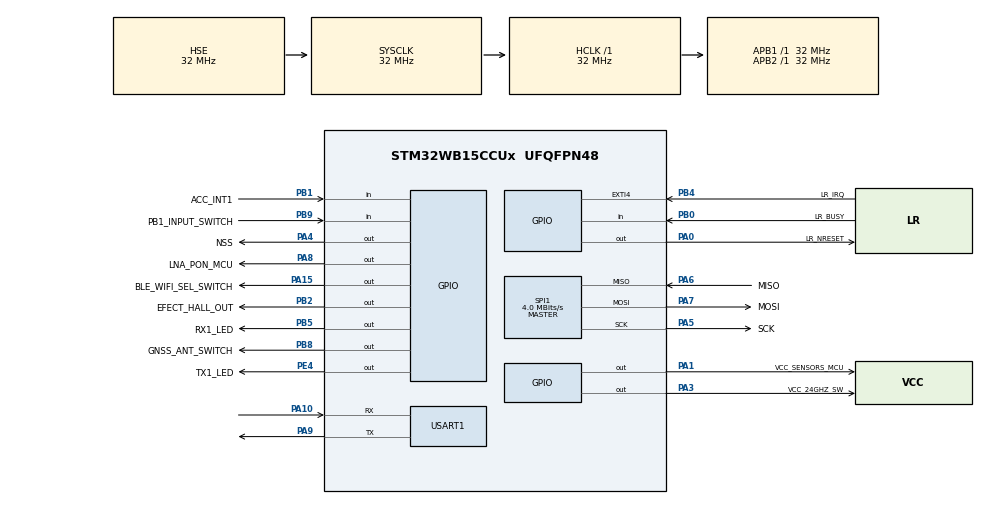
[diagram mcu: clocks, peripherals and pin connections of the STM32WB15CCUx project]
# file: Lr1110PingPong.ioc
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Dma.Request0=USART1_TX
Dma.Request1=USART1_RX
Dma.USART1_RX.1.Direction=DMA_PERIPH_TO_MEMORY
Dma.USART1_RX.1.EventEnable=DISABLE
Dma.USART1_RX.1.Instance=DMA1_Channel2
Dma.USART1_RX.1.MemDataAlignment=DMA_MDATAALIGN_BYTE
Dma.USART1_RX.1.MemInc=DMA_MINC_ENABLE
Dma.USART1_RX.1.Mode=DMA_NORMAL
Dma.USART1_RX.1.PeriphDataAlignment=DMA_PDATAALIGN_BYTE
Dma.USART1_RX.1.PeriphInc=DMA_PINC_DISABLE
Dma.USART1_RX.1.Polarity=HAL_DMAMUX_REQ_GEN_RISING
Dma.USART1_RX.1.Priority=DMA_PRIORITY_LOW
Dma.USART1_RX.1.RequestNumber=1
Dma.USART1_RX.1.SignalID=NONE
Dma.USART1_RX.1.SyncEnable=DISABLE
Dma.USART1_RX.1.SyncPolarity=HAL_DMAMUX_SYNC_NO_EVENT
Dma.USART1_RX.1.SyncRequestNumber=1
Dma.USART1_RX.1.SyncSignalID=NONE
Dma.USART1_TX.0.Direction=DMA_MEMORY_TO_PERIPH
Dma.USART1_TX.0.EventEnable=DISABLE
Dma.USART1_TX.0.Instance=DMA1_Channel1
Dma.USART1_TX.0.MemDataAlignment=DMA_MDATAALIGN_BYTE
Dma.USART1_TX.0.MemInc=DMA_MINC_ENABLE
Dma.USART1_TX.0.Mode=DMA_NORMAL
Dma.USART1_TX.0.PeriphDataAlignment=DMA_PDATAALIGN_BYTE
Dma.USART1_TX.0.PeriphInc=DMA_PINC_DISABLE
Dma.USART1_TX.0.Polarity=HAL_DMAMUX_REQ_GEN_RISING
Dma.USART1_TX.0.Priority=DMA_PRIORITY_HIGH
Dma.USART1_TX.0.RequestNumber=1
Dma.USART1_TX.0.SignalID=NONE
Dma.USART1_TX.0.SyncEnable=DISABLE
Dma.USART1_TX.0.SyncPolarity=HAL_DMAMUX_SYNC_NO_EVENT
Dma.USART1_TX.0.SyncRequestNumber=1
Dma.USART1_TX.0.SyncSignalID=NONE
Mcu.Family=STM32WB
Mcu.Name=STM32WB15CCUx
Mcu.Package=UFQFPN48
NVIC.DMA1_Channel1_IRQn=true\:0\:0\:false\:false\:true\:false\:true
NVIC.DMA1_Channel2_IRQn=true\:0\:0\:false\:false\:true\:false\:true
NVIC.EXTI4_IRQn=true\:0\:0\:false\:false\:true\:true\:true
NVIC.HSEM_IRQn=true\:0\:0\:false\:false\:true\:false\:true
NVIC.IPCC_C1_RX_IRQn=true\:0\:0\:false\:false\:true\:true\:true
NVIC.IPCC_C1_TX_IRQn=true\:0\:0\:false\:false\:true\:true\:true
NVIC.PriorityGroup=NVIC_PRIORITYGROUP_4
NVIC.RCC_IRQn=true\:0\:0\:false\:false\:true\:true\:false
NVIC.RNG_IRQn=true\:0\:0\:false\:false\:true\:true\:true
NVIC.RTC_Alarm_IRQn=true\:0\:0\:false\:false\:true\:true\:true
NVIC.RTC_WKUP_IRQn=true\:0\:0\:false\:false\:true\:true\:true
NVIC.USART1_IRQn=true\:0\:0\:false\:false\:true\:true\:true
OSC_IN.Mode=HSE-External-Oscillator
OSC_IN.Signal=RCC_OSC_IN
OSC_OUT.Mode=HSE-External-Oscillator
OSC_OUT.Signal=RCC_OSC_OUT
PA0.GPIO_Label=LR_NRESET
PA0.Signal=GPIO_Output
PA1.GPIO_Label=VCC_SENSORS_MCU
PA1.Signal=GPIO_Output
PA10.Mode=Asynchronous
PA10.Signal=USART1_RX
PA13.Signal=SYS_JTMS-SWDIO
PA14.Signal=SYS_JTCK-SWCLK
PA15.GPIO_Label=BLE_WIFI_SEL_SWITCH
PA15.Signal=GPIO_Output
PA2.Mode=Clock-out-LSCO
PA2.Signal=RCC_LSCO
PA3.GPIO_Label=VCC_24GHZ_SW
PA3.Signal=GPIO_Output
PA4.GPIO_Label=NSS
PA4.Signal=GPIO_Output
PA5.GPIO_Label=SCK
PA5.Mode=Full_Duplex_Master
PA5.Signal=SPI1_SCK
PA6.GPIO_Label=MISO
PA6.Mode=Full_Duplex_Master
PA6.Signal=SPI1_MISO
PA7.GPIO_Label=MOSI
PA7.Mode=Full_Duplex_Master
PA7.Signal=SPI1_MOSI
PA8.GPIO_Label=LNA_PON_MCU
PA8.Signal=GPIO_Output
PA9.Mode=Asynchronous
PA9.Signal=USART1_TX
PB0.GPIO_Label=LR_BUSY
PB0.Signal=GPIO_Input
PB1.GPIO_Label=ACC_INT1
PB1.Signal=GPIO_Input
PB2.GPIO_Label=EFECT_HALL_OUT
PB2.Signal=GPIO_Output
PB3.Signal=SYS_JTDO-SWO
PB4.GPIO_Label=LR_IRQ
PB4.Signal=GPXTI4
PB5.GPIO_Label=RX1_LED
PB5.Signal=GPIO_Output
PB8.GPIO_Label=GNSS_ANT_SWITCH
PB8.Signal=GPIO_Output
PB9.GPIO_Label=PB1_INPUT_SWITCH
PB9.Signal=GPIO_Input
PC14-OSC32_IN.Mode=LSE-External-Oscillator
PC14-OSC32_IN.Signal=RCC_OSC32_IN
PC15-OSC32_OUT.Mode=LSE-External-Oscillator
PC15-OSC32_OUT.Signal=RCC_OSC32_OUT
PE4.GPIO_Label=TX1_LED
PE4.Signal=GPIO_Output
ProjectManager.HeapSize=0x200
ProjectManager.StackSize=0x400
ProjectManager.TargetToolchain=STM32CubeIDE
RCC.AHBFreq_Value=32000000
RCC.APB1Freq_Value=32000000
RCC.APB1TimFreq_Value=32000000
RCC.APB2Freq_Value=32000000
RCC.APB2TimFreq_Value=32000000
RCC.APB3Freq_Value=16000000
RCC.CortexFreq_Value=32000000
RCC.HCLKFreq_Value=32000000
RCC.HSE_VALUE=32000000
RCC.HSI_VALUE=16000000
RCC.LSCOSource1=RCC_LSCOSOURCE_LSE
RCC.MSIClockRange=RCC_MSIRANGE_10
RCC.PLLN=6
RCC.PLLR=RCC_PLLR_DIV3
RCC.PLLSourceVirtual=RCC_PLLSOURCE_HSI
RCC.RNGCLockSelection=RCC_RNGCLKSOURCE_LSE
RCC.RTCClockSelection=RCC_RTCCLKSOURCE_LSE
RCC.SYSCLKFreq_VALUE=32000000
RCC.SYSCLKSource=RCC_SYSCLKSOURCE_HSE
RCC.VCOOutputFreq_Value=96000000
RF1.Mode=RF1_Activate
RF1.Signal=RF_RF1
RTC.Alarm-Alarm\ A=RTC_ALARM_A
RTC.Format=RTC_FORMAT_BIN
RTC.HourFormat=RTC_HOURFORMAT_24
SPI1.BaudRatePrescaler=SPI_BAUDRATEPRESCALER_8
SPI1.CalculateBaudRate=4.0 MBits/s
SPI1.Direction=SPI_DIRECTION_2LINES
SPI1.Mode=SPI_MODE_MASTER
SPI1.VirtualType=VM_MASTER
STM32_WPAN.BLE_DBG_APP_EN=1
STM32_WPAN.BLE_DBG_P2P_STM_EN=1
STM32_WPAN.CFG_DEBUG_APP_TRACE=1
STM32_WPAN.CFG_DEBUG_BLE_TRACE=1
STM32_WPAN.CFG_DEBUG_TRACE_FULL=1
STM32_WPAN.CFG_DEBUG_TRACE_UART=hw_uart1
STM32_WPAN.CFG_HW_USART1_ENABLED=1
USART1.VirtualMode-Asynchronous=VM_ASYNC
VP_HSEM_VS_HSEM.Mode=HSEM_Activate
VP_IPCC_VS_IPCC.Mode=IPCC_Activate
VP_RNG_VS_RNG.Mode=RNG_Activate
VP_RTC_VS_RTC_Activate.Mode=RTC_Enabled
VP_RTC_VS_RTC_Alarm_A_Intern.Mode=Alarm A
VP_RTC_VS_RTC_Calendar.Mode=RTC_Calendar
VP_RTC_VS_RTC_WakeUp_intern.Mode=WakeUp
VP_SEQUENCER_VS_SEQUENCER.Mode=SEQUENCER_Enabled
VP_STM32_WPAN_VS_BLE_HOST.Mode=STM32_WPAN_Enabled
VP_TINY_LPM_VS_TINY_LPM.Mode=TINY_LPM_Enabled
board=custom

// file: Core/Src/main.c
/* USER CODE BEGIN Header */
/**
  ******************************************************************************
  * @file           : main.c
  * @brief          : Main program body
  ******************************************************************************
  * @attention
  *
  * Copyright (c) 2022 STMicroelectronics.
  * All rights reserved.
  *
  * This software is licensed under terms that can be found in the LICENSE file
  * in the root directory of this software component.
  * If no LICENSE file comes with this software, it is provided AS-IS.
  *
  ******************************************************************************
  */
/* USER CODE END Header */
#include "main.h"
#include "dma.h"
#include "ipcc.h"
#include "rf.h"
#include "rng.h"
#include "rtc.h"
#include "spi.h"
#include "usart.h"
#include "gpio.h"

void SystemClock_Config(void);
void PeriphCommonClock_Config(void);
/* USER CODE BEGIN PFP */

int __io_putchar(int ch)
{
	if(ch == NULL)
		return 0;

	HAL_UART_Transmit(&huart1, &ch, 1, 100);
}

int __io_getchar(void)
{
	uint8_t ch = 0;
	HAL_UART_Receive(&huart1, &ch, 1, 100);
	return ch;
}

void PrintMsg(uint8_t * u8Msg)
{
	if(u8Msg == NULL)
		return;

	HAL_UART_Transmit(&huart1, u8Msg, (uint16_t) strlen((char *)u8Msg), 1000);
}

#if 1
uint8_t hal_spi_in_out( const uint8_t in_data )
{

#if 1

	uint8_t data = 0;

//    HAL_SPI_Transmit( &hspi1, (uint8_t *) &data, 1, 1000);
//    HAL_SPI_Receive( &hspi1, (uint8_t *) &data, 1, 1000);

    HAL_SPI_TransmitReceive(&hspi1, &in_data, &data, 1, 1000);
//    HAL_SPI_Transmit( &hspi1, (uint8_t *) &aa[0], 1, 1000);
//    HAL_SPI_Receive( &hspi1, (uint8_t *) &data, 1, 1000);

    return data;
#else

//        while( LL_SPI_IsActiveFlag_TXE( &huart1 ) == 0 )
//        {
//        };
//        LL_SPI_TransmitData8( &huart1, ( uint8_t )( out_data & 0xFF ) );
//
//        while( LL_SPI_IsActiveFlag_RXNE( &huart1 ) == 0 )
//        {
//        };
//        return LL_SPI_ReceiveData8( &huart1 );

#endif
}

void my_lr1110_hal_reset( void )
{

	HAL_GPIO_WritePin(LR_NRESET_GPIO_Port, LR_NRESET_Pin, 0);
	HAL_Delay(100);
	HAL_GPIO_WritePin(LR_NRESET_GPIO_Port, LR_NRESET_Pin, 1);
	HAL_Delay(500);

//    hal_gpio_set_value( lr1110_context->reset, 0 );
//    hal_mcu_wait_us( 5000 );
//    hal_gpio_set_value( lr1110_context->reset, 1 );
//    hal_mcu_wait_us( 5000 );
//
//    // Wait 200ms until internal lr1110 fw is ready
//    hal_mcu_wait_us( 200000 );
//    radio_mode = RADIO_AWAKE;
//
//    return LR1110_HAL_STATUS_OK;
}

void my_lr1110_hal_wait_on_busy( void )
{

    while( HAL_GPIO_ReadPin(LR_BUSY_GPIO_Port, LR_BUSY_Pin) == 1 )
    {
    };
}

void my_lr1110_hal_check_device_ready(void )
{

	        HAL_GPIO_WritePin(NSS_GPIO_Port, NSS_Pin, 0);
	        HAL_GPIO_WritePin(NSS_GPIO_Port, NSS_Pin, 1);
        my_lr1110_hal_wait_on_busy( );
//    }
//    else
//    {
//        // Busy is HIGH in sleep mode, wake-up the device with a small glitch on NSS
//        hal_gpio_set_value( lr1110_context->nss, 0 );
//        hal_gpio_set_value( lr1110_context->nss, 1 );
//        lr1110_hal_wait_on_busy( lr1110_context->busy );
//        radio_mode = RADIO_AWAKE;
//    }
}

void my_lr1110_hal_wakeup( void )
{
    my_lr1110_hal_check_device_ready(  );
}

void my_lr1110_hal_write( const uint8_t* command, const uint16_t command_length,
                                      const uint8_t* data, const uint16_t data_length )
{
	my_lr1110_hal_check_device_ready();

	HAL_GPIO_WritePin(NSS_GPIO_Port, NSS_Pin, 0);

    for( uint16_t i = 0; i < command_length; i++ )
    {
        hal_spi_in_out( command[i] );
    }

    for( uint16_t i = 0; i < data_length; i++ )
	{
		hal_spi_in_out( data[i] );
	}

    HAL_GPIO_WritePin(NSS_GPIO_Port, NSS_Pin, 1);

    my_lr1110_hal_wait_on_busy();

//	if( my_lr1110_hal_wakeup( context ) == LR1110_HAL_STATUS_OK )
//	{
//		hal_gpio_set_value( ( ( lr1110_t* ) context )->nss.pin, 0 );
//		for( uint16_t i = 0; i < command_length; i++ )
//		{
//			hal_spi_in_out( ( ( lr1110_t* ) context )->spi_id, command[i] );
//		}
//		for( uint16_t i = 0; i < data_length; i++ )
//		{
//			hal_spi_in_out( ( ( lr1110_t* ) context )->spi_id, data[i] );
//		}
//		hal_gpio_set_value( ( ( lr1110_t* ) context )->nss.pin, 1 );
//
//		return lr1110_hal_wait_on_busy( context, 5000 );
//	}

#if 0
#if defined( USE_LR1110_CRC_OVER_SPI )
    // Compute the CRC over command array first and over data array then
    uint8_t cmd_crc = lr1110_hal_compute_crc( 0xFF, command, command_length );
    cmd_crc         = lr1110_hal_compute_crc( cmd_crc, data, data_length );
#endif

    my_lr1110_hal_check_device_ready( );

    // Put NSS low to start spi transaction
//    hal_gpio_set_value( lr1110_context->nss, 0 );
    HAL_GPIO_WritePin(NSS_GPIO_Port, NSS_Pin, 0);

    for( uint16_t i = 0; i < command_length; i++ )
    {
        hal_spi_in_out( command[i] );
    }
    for( uint16_t i = 0; i < data_length; i++ )
    {
        hal_spi_in_out( data[i] );
    }

#if defined( USE_LR1110_CRC_OVER_SPI )
    // Send the CRC byte at the end of the transaction
    hal_spi_in_out( lr1110_context->spi_id, cmd_crc );
#endif

    // Put NSS high as the spi transaction is finished
//    hal_gpio_set_value( lr1110_context->nss, 1 );
    HAL_GPIO_WritePin(NSS_GPIO_Port, NSS_Pin, 1);

    // LR1110_SYSTEM_SET_SLEEP_OC=0x011B opcode. In sleep mode the radio busy line is held at 1 => do not test it
    if( ( command[0] == 0x01 ) && ( command[1] == 0x1B ) )
    {
//        radio_mode = RADIO_SLEEP;

        // add a incompressible delay to prevent trying to wake the radio before it is full asleep
        HAL_Delay(500); //( 500 );
    }
#endif
}

void my_lr1110_hal_read( const uint8_t* command, const uint16_t command_length,
                                     uint8_t* data, const uint16_t data_length )
{
    my_lr1110_hal_check_device_ready(  );

    // Put NSS low to start spi transaction
    //    hal_gpio_set_value( lr1110_context->nss, 0 );
    HAL_GPIO_WritePin(NSS_GPIO_Port, NSS_Pin, 0);

    HAL_Delay(1);

    for( uint16_t i = 0; i < command_length; i++ )
    {
        hal_spi_in_out( command[i] );
    }

//    hal_gpio_set_value( lr1110_context->nss, 1 );
    HAL_GPIO_WritePin(NSS_GPIO_Port, NSS_Pin, 1);

    if( data_length > 0 )
    {
    	my_lr1110_hal_wait_on_busy(  );
    	HAL_Delay(10);
//        my_lr1110_hal_check_device_ready(  );
//        hal_gpio_set_value( lr1110_context->nss, 0 );
        HAL_GPIO_WritePin(NSS_GPIO_Port, NSS_Pin, 0);

        HAL_Delay(1);

        hal_spi_in_out( 0x00 );

        for( uint16_t i = 0; i < data_length; i++ )
        {
            data[i] = hal_spi_in_out( 0 );
        }

        // Put NSS high as the spi transaction is finished
//        hal_gpio_set_value( lr1110_context->nss, 1 );
        HAL_GPIO_WritePin(NSS_GPIO_Port, NSS_Pin, 1);
    }

    my_lr1110_hal_wait_on_busy();

}

void GetLr1110Version(char * version)
{
//	uint8_t cBuffer[2] = {0, };
//	uint8_t rbuffer[10] = { 0 };
//
//	cBuffer[0] = 0x01;
//	cBuffer[1] = 0x01;
//
//	my_my_lr1110_hal_read(cBuffer, 2, rbuffer, 4);
//
//	memcpy(version, rbuffer, 0x04);

    uint8_t         cbuffer[2];
    uint8_t         rbuffer[4] = { 0x00 };

    cbuffer[0] = ( uint8_t )( 257 >> 8 );
    cbuffer[1] = ( uint8_t )( 257 >> 0 );

    my_my_lr1110_hal_read( cbuffer, 2, rbuffer, 4 );

    memcpy(version, rbuffer, 0x04);

}

void my1_lr1110_hal_reset( void )
{
	PrintMsg("LR1110 --->\r\n");

    HAL_GPIO_WritePin(LR_NRESET_GPIO_Port, LR_NRESET_Pin, 0);
    HAL_Delay( 500 );
    HAL_GPIO_WritePin(LR_NRESET_GPIO_Port, LR_NRESET_Pin, 1);

//    HAL_GPIO_WritePin(NSS_GPIO_Port, NSS_Pin, 0);
    HAL_GPIO_WritePin(NSS_GPIO_Port, NSS_Pin, 1);

//		HAL_GPIO_WritePin(GPIOA, GPIO_PIN_0, GPIO_PIN_RESET);
//    HAL_Delay( 100 );
////    hal_gpio_set_value( ( ( lr1110_t* ) context )->reset.pin, 1 );
//		HAL_GPIO_WritePin(GPIOA, GPIO_PIN_0, GPIO_PIN_SET);

//	HAL_UART_Transmit(&huart1,"LR1110 Busy Pin Check\n",strlen("LR1110 Busy Pin Check\n"),100);

	while( HAL_GPIO_ReadPin(LR_BUSY_GPIO_Port, LR_BUSY_Pin) == 1 )
	{
		PrintMsg("LR1110 Busy Pin High\r\n");
	}
	PrintMsg(" OK\r\n");

//    return LR1110_HAL_STATUS_OK;
    while( HAL_GPIO_ReadPin(LR_BUSY_GPIO_Port, LR_BUSY_Pin) == 1 );
    PrintMsg("LR1110 RESET OK\r\n");
//		return LR1110_HAL_STATUS_OK;

//		while(hal_gpio_get_value(lr1110.event.pin) == 0)
//		{
//			hal_uart_tx(HAL_PRINTF_UART_ID,"LR1110 Event Pin Low\n",strlen("LR1110 Event Pin Low\n"));
//		}

//		hal_uart_tx(HAL_PRINTF_UART_ID,"LR1110 Event Pin High\n",strlen("LR1110 Event Pin High\n"));
//	HAL_DBG_TRACE_PRINTF("\r\n Initiate Wakeup sequence: ");
    HAL_Delay(1000);
//    if( my_lr1110_hal_wakeup(&lr1110) == LR1110_HAL_STATUS_OK )
//    {
//        HAL_DBG_TRACE_PRINTF("Pass");
//    }
//    else
//    {
//        HAL_DBG_TRACE_PRINTF("Fail");
//    }

//    HAL_DBG_TRACE_PRINTF("\r\n");
//    while(1);
//    while(1);

}

#endif

void spdt_2g4_on( void )
{
	HAL_GPIO_WritePin(VCC_24GHZ_SW_GPIO_Port, VCC_24GHZ_SW_Pin, 1);
}

void spdt_2g4_off( void )
{
	HAL_GPIO_WritePin(VCC_24GHZ_SW_GPIO_Port, VCC_24GHZ_SW_Pin, 0);
}

void set_wifi_antenna( void )
{
    /* SWITCH_WIFI_BLE_Pin = 1 ==> Wi-Fi */
//    hal_gpio_set_value( SWITCH_WIFI_BLE, 1 );
	HAL_GPIO_WritePin(BLE_WIFI_SEL_SWITCH_GPIO_Port, BLE_WIFI_SEL_SWITCH_Pin, 1);

}

void set_ble_antenna( void )
{
    /* SWITCH_WIFI_BLE_Pin = 0 ==> BLE */
//    hal_gpio_set_value( SWITCH_WIFI_BLE, 0 );
    HAL_GPIO_WritePin(BLE_WIFI_SEL_SWITCH_GPIO_Port, BLE_WIFI_SEL_SWITCH_Pin, 0);
}

void my_lr1110_get_version( char * hw, char * type, uint16_t * fw )
{
    uint8_t         cbuffer[2];
    uint8_t         rbuffer[4] = { 0x00 };

    cbuffer[0] = ( uint8_t )( 1 );
    cbuffer[1] = ( uint8_t )( 1 );

    my_lr1110_hal_read( cbuffer, 2, rbuffer, 4 );

	* hw   = rbuffer[0];
	* type = rbuffer[1];
	* fw    = ( ( uint16_t ) rbuffer[2] << 8 ) + ( uint16_t ) rbuffer[3];

}

void my_lr1110_reset(void)
{
	printf("LR1110 -- Reset\r\n");
	HAL_GPIO_WritePin(LR_NRESET_GPIO_Port, LR_NRESET_Pin, 0);
	HAL_Delay( 1 );
	HAL_GPIO_WritePin(LR_NRESET_GPIO_Port, LR_NRESET_Pin, 1);
}

extern int lora_ping_pong( void );
extern int lora_wan( void );

/* USER CODE END PFP */

int main(void)
{

  /* MCU Configuration--------------------------------------------------------*/

  /* Reset of all peripherals, Initializes the Flash interface and the Systick. */
  HAL_Init();
  /* Config code for STM32_WPAN (HSE Tuning must be done before system clock configuration) */
  MX_APPE_Config();

  /* Configure the system clock */
  SystemClock_Config();

/* Configure the peripherals common clocks */
  PeriphCommonClock_Config();

  /* IPCC initialisation */
   MX_IPCC_Init();

  /* Initialize all configured peripherals */
  MX_GPIO_Init();
  MX_RF_Init();
  MX_SPI1_Init();
  MX_USART1_UART_Init();
  MX_RTC_Init();
  MX_RNG_Init();
  MX_DMA_Init();
  /* USER CODE BEGIN 2 */

  printf("\r\n\r\n\r\n");
  printf("===================================================\r\n");
  printf("||       Lora Asset Tracker v%d.%d.%d                ||\r\n",
		  FW_VERSION_MAJOR, FW_VERSION_MINOR, FW_VERSION_PATCH);
  printf("===================================================\r\n\r\n");

  my_lr1110_reset();
  HAL_Delay(500);
  my_lr1110_reset();

  uint8_t hw = 0, type = 0;
  uint16_t fw = 0;
  my_lr1110_get_version( &hw, &type, &fw );
  printf( "LR1110 : hw:%#02X / type:%#02X / fw:%#04X\n\r", hw, type, fw );

  /* Uncomment for Lora Ping Ping */
//  lora_ping_pong();

  /* Uncomment for Lorawan */
  //lora_wan();

  /* USER CODE END 2 */

  /* Init code for STM32_WPAN */
  MX_APPE_Init();
  /* Infinite loop */
  while (1)
  {
    MX_APPE_Process();

  }
}

void SystemClock_Config(void)
{
  RCC_OscInitTypeDef RCC_OscInitStruct = {0};
  RCC_ClkInitTypeDef RCC_ClkInitStruct = {0};

  /** Configure LSE Drive Capability
  */
  HAL_PWR_EnableBkUpAccess();
  __HAL_RCC_LSEDRIVE_CONFIG(RCC_LSEDRIVE_LOW);
  /** Initializes the RCC Oscillators according to the specified parameters
  * in the RCC_OscInitTypeDef structure.
  */
  RCC_OscInitStruct.OscillatorType = RCC_OSCILLATORTYPE_HSI|RCC_OSCILLATORTYPE_HSE
                              |RCC_OSCILLATORTYPE_LSE;
  RCC_OscInitStruct.HSEState = RCC_HSE_ON;
  RCC_OscInitStruct.LSEState = RCC_LSE_ON;
  RCC_OscInitStruct.HSIState = RCC_HSI_ON;
  RCC_OscInitStruct.HSICalibrationValue = RCC_HSICALIBRATION_DEFAULT;
  RCC_OscInitStruct.PLL.PLLState = RCC_PLL_NONE;
  if (HAL_RCC_OscConfig(&RCC_OscInitStruct) != HAL_OK)
  {
    Error_Handler();
  }
  /** Configure the SYSCLKSource, HCLK, PCLK1 and PCLK2 clocks dividers
  */
  RCC_ClkInitStruct.ClockType = RCC_CLOCKTYPE_HCLK4|RCC_CLOCKTYPE_HCLK2
                              |RCC_CLOCKTYPE_HCLK|RCC_CLOCKTYPE_SYSCLK
                              |RCC_CLOCKTYPE_PCLK1|RCC_CLOCKTYPE_PCLK2;
  RCC_ClkInitStruct.SYSCLKSource = RCC_SYSCLKSOURCE_HSE;
  RCC_ClkInitStruct.AHBCLKDivider = RCC_SYSCLK_DIV1;
  RCC_ClkInitStruct.APB1CLKDivider = RCC_HCLK_DIV1;
  RCC_ClkInitStruct.APB2CLKDivider = RCC_HCLK_DIV1;
  RCC_ClkInitStruct.AHBCLK2Divider = RCC_SYSCLK_DIV1;
  RCC_ClkInitStruct.AHBCLK4Divider = RCC_SYSCLK_DIV1;

  if (HAL_RCC_ClockConfig(&RCC_ClkInitStruct, FLASH_LATENCY_1) != HAL_OK)
  {
    Error_Handler();
  }
  HAL_RCCEx_EnableLSCO(RCC_LSCOSOURCE_LSE);
}

void PeriphCommonClock_Config(void)
{
  RCC_PeriphCLKInitTypeDef PeriphClkInitStruct = {0};

  /** Initializes the peripherals clock
  */
  PeriphClkInitStruct.PeriphClockSelection = RCC_PERIPHCLK_SMPS|RCC_PERIPHCLK_RFWAKEUP;
  PeriphClkInitStruct.RFWakeUpClockSelection = RCC_RFWKPCLKSOURCE_LSE;
  PeriphClkInitStruct.SmpsClockSelection = RCC_SMPSCLKSOURCE_HSI;
  PeriphClkInitStruct.SmpsDivSelection = RCC_SMPSCLKDIV_RANGE1;

  if (HAL_RCCEx_PeriphCLKConfig(&PeriphClkInitStruct) != HAL_OK)
  {
    Error_Handler();
  }
}

void Error_Handler(void)
{
  __disable_irq();
  while (1)
  {
  }
}

#ifdef  USE_FULL_ASSERT
/**
  * @brief  Reports the name of the source file and the source line number
  *         where the assert_param error has occurred.
  * @param  file: pointer to the source file name
  * @param  line: assert_param error line source number
  * @retval None
  */
void assert_failed(uint8_t *file, uint32_t line)
{
  /* USER CODE BEGIN 6 */
  /* User can add his own implementation to report the file name and line number,
     ex: printf("Wrong parameters value: file %s on line %d\r\n", file, line) */

	printf( "Wrong parameters value: file %s on line %lu\n", ( const char* )file, line );
	/* Infinite loop */
	while( 1 )
	{
	}

  /* USER CODE END 6 */
}
#endif /* USE_FULL_ASSERT */
